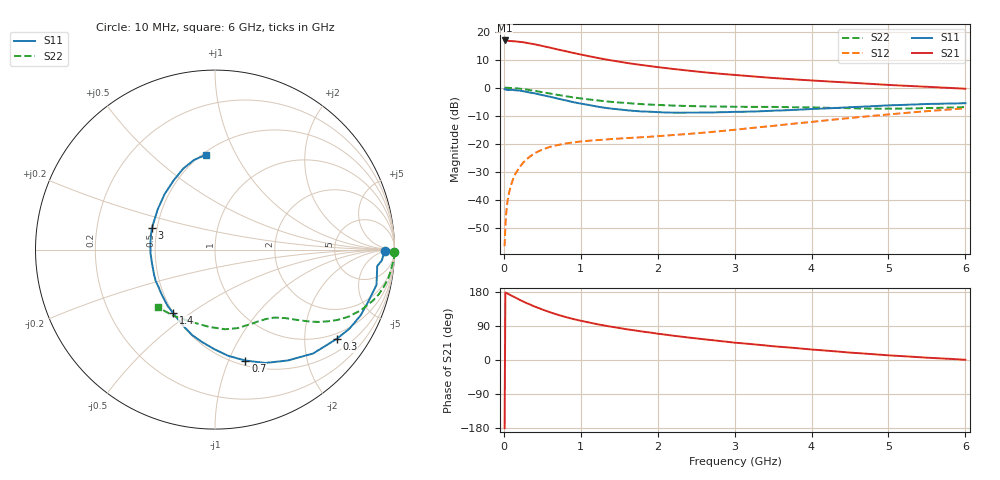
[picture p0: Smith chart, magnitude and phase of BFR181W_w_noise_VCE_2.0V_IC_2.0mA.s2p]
! Infineon Technologies  Discrete & RF Semiconductors
! BFR181W
! VCE =  2.0 V,  IC =  2.0 mA
! Common Emitter S-Parameters:  Jan 2017
# GHz  S  MA  R  50
!  f  S11  S21  S12  S22
! GHz  MAG  ANG  MAG  ANG  MAG  ANG  MAG  ANG
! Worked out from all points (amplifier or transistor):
!   77 points, 10 MHz to 6 GHz, reference 50 ohm
!   highest |S21| = 16.8 dB at 10 MHz (marker M1)
!   |S21| within 3 dB of that: start of sweep to 668.1 MHz
!   unconditionally stable (mu >= 1): 1.843 GHz to 4.045 GHz
!   at 130 MHz: K = 0.07, MSG = 24.2 dB, |S12| = -31.9 dB
!   at 2.2 GHz: K = 1.08, MAG = 10.0 dB, |S12| = -16.9 dB
!   at 6 GHz: K = 0.86, MSG = 3.5 dB, |S12| = -7.3 dB
!   lowest NFmin = 0.84 dB at 450 MHz
!   S11 on the Smith chart (normalised r, x): 10 MHz: 35, -4; 300 MHz: 0.83, -2.83; 700 MHz: 0.55, -1.15; 1.4 GHz: 0.50, -0.43; 3 GHz: 0.47, +0.13; 6 GHz: 0.52, +0.76
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0.01  0.9445 -0.4  6.957 -179.8  0.0015 91.3  1 -0.7
0.02  0.9315 -3.7  6.951 178.1  0.0034 88.3  1 -1.2
0.03  0.9237 -4.4  6.919 177.1  0.0056 87.2  1 -1.8
0.05  0.9085 -5.8  6.86 175.1  0.0099 86.4  0.997 -3.1
0.08  0.9146 -9.7  6.804 171.9  0.0157 84.7  0.9909 -5.0
0.15  0.9016 -18.8  6.708 164.8  0.0291 79.2  0.9788 -9.4
0.2  0.89 -24.4  6.574 159.4  0.0375 76.0  0.9631 -12.4
0.3  0.8407 -36.3  6.292 149.8  0.0536 68.8  0.9246 -17.9
0.4  0.7958 -46.7  5.957 141.1  0.068 63.4  0.8803 -22.6
0.5  0.7391 -56.7  5.556 133.3  0.079 58.4  0.8337 -26.6
0.6  0.6908 -66.1  5.183 126.0  0.0883 54.3  0.7879 -29.8
0.7  0.6407 -74.7  4.809 119.4  0.0951 51.8  0.7455 -32.4
0.9  0.5542 -90.5  4.18 108.3  0.1058 46.9  0.6741 -36.6
1.1  0.4944 -104.6  3.663 99.3  0.1133 44.6  0.6204 -39.5
1.4  0.4236 -123.5  3.065 87.7  0.1218 43.0  0.56 -43.3
1.8  0.3771 -146.6  2.532 75.1  0.1314 44.0  0.5093 -48.1
2.1  0.3621 -162.2  2.245 66.9  0.1401 45.8  0.4869 -52.1
3  0.3715 160.9  1.691 45.8  0.1779 51.7  0.4583 -65.8
3.1  0.3728 157.6  1.648 44.1  0.1841 52.2  0.457 -67.4
4.1  0.4227 129.8  1.323 26.2  0.2543 53.1  0.4429 -85.1
5.1  0.4896 109.7  1.104 11.1  0.3436 48.1  0.4239 -110.5
6  0.5303 95.5  0.96 0.7  0.4291 40.1  0.4522 -134.5
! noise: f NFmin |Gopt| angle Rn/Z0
0.45  0.84  0.56  18  0.32
0.9  0.9  0.51  33  0.3
1.9  1.35  0.31  81  0.23
2.4  1.58  0.27  95  0.25
